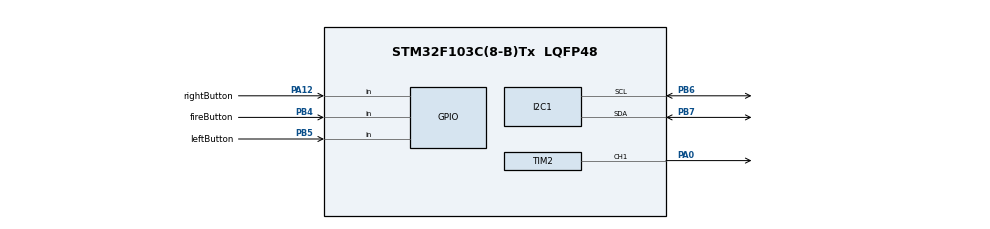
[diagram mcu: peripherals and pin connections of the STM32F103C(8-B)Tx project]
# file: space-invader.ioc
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I2C1.I2C_Mode=I2C_Fast
Mcu.Family=STM32F1
Mcu.Name=STM32F103C(8-B)Tx
Mcu.Package=LQFP48
NVIC.PriorityGroup=NVIC_PRIORITYGROUP_4
PA0-WKUP.Signal=S_TIM2_CH1_ETR
PA12.GPIO_Label=rightButton
PA12.GPIO_PuPd=GPIO_PULLUP
PA12.Signal=GPIO_Input
PA13.Mode=Serial_Wire
PA13.Signal=SYS_JTMS-SWDIO
PA14.Mode=Serial_Wire
PA14.Signal=SYS_JTCK-SWCLK
PB4.GPIO_Label=fireButton
PB4.GPIO_PuPd=GPIO_PULLUP
PB4.Signal=GPIO_Input
PB5.GPIO_Label=leftButton
PB5.GPIO_PuPd=GPIO_PULLUP
PB5.Signal=GPIO_Input
PB6.Mode=I2C
PB6.Signal=I2C1_SCL
PB7.Mode=I2C
PB7.Signal=I2C1_SDA
PD0-OSC_IN.Mode=HSE-External-Oscillator
PD0-OSC_IN.Signal=RCC_OSC_IN
PD1-OSC_OUT.Mode=HSE-External-Oscillator
PD1-OSC_OUT.Signal=RCC_OSC_OUT
ProjectManager.HeapSize=0x200
ProjectManager.StackSize=0x400
ProjectManager.TargetToolchain=STM32CubeIDE
RCC.APB1Freq_Value=8000000
RCC.APB2Freq_Value=8000000
SH.S_TIM2_CH1_ETR.0=TIM2_CH1,PWM Generation1 CH1
TIM2.AutoReloadPreload=TIM_AUTORELOAD_PRELOAD_DISABLE
TIM2.Channel-PWM\ Generation1\ CH1=TIM_CHANNEL_1
TIM2.OC1Preload_PWM=DISABLE
TIM2.Period=999
TIM2.Prescaler=79
TIM2.Pulse-PWM\ Generation1\ CH1=500
VP_TIM2_VS_ClockSourceINT.Mode=Internal
board=custom

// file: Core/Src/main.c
/* USER CODE BEGIN Header */
/**
  ******************************************************************************
  * @file           : main.c
  * @brief          : Main program body
  ******************************************************************************
  * @attention
  *
  * Copyright (c) 2025 STMicroelectronics.
  * All rights reserved.
  *
  * This software is licensed under terms that can be found in the LICENSE file
  * in the root directory of this software component.
  * If no LICENSE file comes with this software, it is provided AS-IS.
  *
  ******************************************************************************
  */
/* USER CODE END Header */
#include "main.h"

/* USER CODE BEGIN Includes */
#include <stdlib.h>
#include <stdio.h>
#include <string.h>
#include "ssd1306.h"
#include "ssd1306_fonts.h"
/* USER CODE END Includes */

/* USER CODE BEGIN PTD */
typedef struct {
    int16_t X;
    int16_t Y;
    uint8_t Status;  // 0 active, 1 exploding, 2 destroyed
} GameObjectStruct;

typedef struct {
    GameObjectStruct Ord;
    uint8_t ExplosionGfxCounter;
} AlienStruct;

typedef struct {
    GameObjectStruct Ord;
    uint16_t Score;
    uint8_t Lives;
    uint8_t Level;
    uint8_t AliensDestroyed;    // count of how many killed so far
    uint8_t AlienSpeed;         // higher the number slower they go, calculated when ever alien destroyed
    uint8_t ExplosionGfxCounter; // how long we want the ExplosionGfx to last
} PlayerStruct;
/* USER CODE END PTD */

/* USER CODE BEGIN PD */
#define SCREEN_WIDTH SSD1306_WIDTH
#define SCREEN_HEIGHT SSD1306_HEIGHT
// Input settings - adjust these to your STM32 GPIO pins
#define FIRE_BUT_PIN fireButton_Pin
#define FIRE_BUT_PORT fireButton_GPIO_Port
#define RIGHT_BUT_PIN rightButton_Pin
#define RIGHT_BUT_PORT rightButton_GPIO_Port
#define LEFT_BUT_PIN leftButton_Pin
#define LEFT_BUT_PORT leftButton_GPIO_Port

#define BUZZER_PIN GPIO_PIN_0
#define BUZZER_PORT GPIOA
#define BUZZER_TIMER &htim2  // Use a timer for PWM control
// Alien settings
#define ALIEN_HEIGHT 8
#define NUM_ALIEN_COLUMNS 7
#define NUM_ALIEN_ROWS 3
#define X_START_OFFSET 6
#define SPACE_BETWEEN_ALIEN_COLUMNS 5
#define LARGEST_ALIEN_WIDTH 11
#define SPACE_BETWEEN_ROWS 9
#define INVADERS_DROP_BY 4
#define INVADERS_SPEED 12
#define INVADER_HEIGHT 8
#define EXPLOSION_GFX_TIME 7

//Mothership settings
#define MOTHERSHIP_HEIGHT 4
#define MOTHERSHIP_WIDTH 16
#define MOTHERSHIP_SPEED 2
#define MOTHERSHIP_SPAWN_CHANCE 250         //HIGHER IS LESS CHANCE OF SPAWN
#define DISPLAY_MOTHERSHIP_BONUS_TIME 20    // how long bonus stays on screen for displaying mothership

#define INVADERS_Y_START MOTHERSHIP_HEIGHT-1
#define AMOUNT_TO_DROP_BY_PER_LEVEL 4 // How much farther down aliens start per new level
#define LEVEL_TO_RESET_TO_START_HEIGHT 4  // EVERY MULTIPLE OF THIS LEVEL THE ALIEN y START POSITION WILL RESET TO TOP

#define ALIEN_X_MOVE_AMOUNT 1         // number of pixels moved at start of wave
#define CHANCEOFBOMBDROPPING 20       // Higher the number the rarer the bomb drop,
#define BOMB_HEIGHT 4
#define BOMB_WIDTH 2
#define MAXBOMBS 3

// Player settings
#define TANKGFX_WIDTH 13
#define TANKGFX_HEIGHT 8
#define PLAYER_X_MOVE_AMOUNT 2
#define LIVES 3
#define PLAYER_EXPLOSION_TIME 10      // How long an ExplosionGfx remains on screen before dissapearing
#define PLAYER_Y_START 56
#define PLAYER_X_START 0

// Missile settings
#define MISSILE_HEIGHT 4
#define MISSILE_WIDTH 1
#define MISSILE_SPEED 4

// Status constants
#define ACTIVE 0
#define EXPLODING 1
#define DESTROYED 2

/* USER CODE END PD */

I2C_HandleTypeDef hi2c1;

TIM_HandleTypeDef htim2;

/* USER CODE BEGIN PV */
// Game objects
AlienStruct Alien[NUM_ALIEN_COLUMNS][NUM_ALIEN_ROWS];
AlienStruct MotherShip;
GameObjectStruct AlienBomb[MAXBOMBS];

static const int TOTAL_ALIENS = NUM_ALIEN_COLUMNS * NUM_ALIEN_ROWS;

// Alien properties
uint8_t AlienWidth[] = {8, 11, 12};  // top, middle, bottom widths
int8_t AlienXMoveAmount = 2;
int8_t InvadersMoveCounter;            // counts down, when 0 move invaders, set according to how many aliens on screen
uint8_t AnimationFrame = 0;   // two frames of animation, if true show one if false show the other

// Mothership
int8_t MotherShipSpeed;
uint16_t MotherShipBonus;
int16_t MotherShipBonusXPos;            // pos to display bonus at
uint8_t MotherShipBonusCounter;         // how long bonus amount left on screen

// Player global variables
PlayerStruct Player;
GameObjectStruct Missile;
// game variables
uint16_t HiScore = 0;
uint8_t GameInPlay = 0;

// Global/static UFO variables
static int ufoX = -20;
static uint32_t lastUfoMove = 0;
static uint32_t lastUfoStart = 0;
static uint8_t ufoActive = 0;

// Graphics
const uint8_t InvaderTopGfx[] = {
  0x18, 0x3C, 0x7E, 0xDB, 0xFF, 0x24, 0x5A, 0xA5
};

const uint8_t InvaderTopGfx2[] = {
  0x18, 0x3C, 0x7E, 0xDB, 0xFF, 0x5A, 0x81, 0x42
};

const uint8_t InvaderMiddleGfx[] = {
  0x20, 0x80, 0x11, 0x00, 0x3F, 0x80, 0x6E, 0xC0,
  0xFF, 0xE0, 0xBF, 0xA0, 0xA0, 0xA0, 0x1B, 0x00
};

const uint8_t InvaderMiddleGfx2[] = {
  0x20, 0x80, 0x10, 0x10, 0xBF, 0xA0, 0xAE, 0xA0,
  0xFF, 0xE0, 0x3F, 0x80, 0x20, 0x80, 0x40, 0x40
};

const uint8_t InvaderBottomGfx[] = {
  0x0F, 0x00, 0x7F, 0xE0, 0xFF, 0xF0, 0xE6, 0x70,
  0xFF, 0xF0, 0x39, 0xC0, 0x66, 0x60, 0x30, 0xC0
};

const uint8_t InvaderBottomGfx2[] = {
  0x0F, 0x00, 0x7F, 0xE0, 0xFF, 0xF0, 0xE6, 0x70,
  0xFF, 0xF0, 0x39, 0xC0, 0x46, 0x20, 0x80, 0x10
};

const uint8_t MotherShipGfx [] = {
  0x3F, 0xFC,
  0x6D, 0xB6,
  0xFF, 0xFF,
  0x39, 0x9C
};

// Player graphics
const uint8_t TankGfx[] ={
	0x02, 0x00, 0x27, 0x20, 0x2f, 0xa0, 0x3f, 0xe0,
	0x7f, 0xf0, 0xff, 0xf8, 0x6d, 0xb0, 0x25, 0x20
};

const uint8_t ExplosionGfx[] = {
  0x08, 0x80, 0x45, 0x10, 0x20, 0x20, 0x10, 0x40,
  0xC0, 0x18, 0x10, 0x40, 0x25, 0x20, 0x48, 0x90
};
// Missile graphics
const uint8_t MissileGfx[] = {
  0x80, 0x80, 0x80, 0x80
};

static const uint8_t AlienBombGfx [] = {
  0x80,
  0x40,
  0x80,
  0x40
};

// Alien sprites (2 frames 8x8)
const uint8_t alien1[8] = {
    0x18, 0x3C, 0x7E, 0xDB, 0xFF, 0x24, 0x42, 0x81
};

const uint8_t alien2[8] = {
    0x18, 0x3C, 0x7E, 0xBD, 0xFF, 0x24, 0x5A, 0xA5
};

// UFO sprite (16x8)
const uint8_t ufoSprite[8][2] = {
    {0x0E, 0x00}, {0x1F, 0x00}, {0x3F, 0x80}, {0x7F, 0xC0},
    {0xFF, 0xE0}, {0x3F, 0x80}, {0x1F, 0x00}, {0x0E, 0x00}
};
/* USER CODE END PV */

void SystemClock_Config(void);
static void MX_GPIO_Init(void);
static void MX_I2C1_Init(void);
static void MX_TIM2_Init(void);
/* USER CODE BEGIN PFP */
void InitAliens(int YStart);
void InitPlayer(void);
void AttractScreen(void);
void Physics(void);
uint8_t GetScoreForAlien(int RowNumber);
void MotherShipPhysics(void);
void PlayerControl(void);
void MissileControl(void);
void AlienControl(void);
void MoveBombs(void);
void DropBomb(void);
void BombCollisions(void);
void PlayerHit(void);
void CheckCollisions(void);
void MotherShipCollisions(void);
void MissileAndAlienCollisions(void);
uint8_t Collision(GameObjectStruct Obj1, uint8_t Width1, uint8_t Height1,
                 GameObjectStruct Obj2, uint8_t Width2, uint8_t Height2);
int16_t RightMostPos(void);
int16_t LeftMostPos(void);
uint8_t ReadButton(GPIO_TypeDef* port, uint16_t pin);
void UpdateDisplay(void);
void LoseLife(void);
void GameOver(void);
void DisplayPlayerAndLives(PlayerStruct *Player);
void CentreText(const char *Text, uint8_t Y);
void NextLevel(PlayerStruct *Player);
void NewGame(void);
uint8_t DebouncedReadButton(GPIO_TypeDef* port, uint16_t pin) {
    if(ReadButton(port, pin) == GPIO_PIN_RESET) {
        HAL_Delay(20);  // Chờ 20ms để chống nhiễu
        if(ReadButton(port, pin) == GPIO_PIN_RESET) {
            return 1;
        }
    }
    return 0;
}
uint8_t ReadButton(GPIO_TypeDef* port, uint16_t pin);
// Random number generation
int my_random(int max) {
    return rand() % max;
}

void randomSeed(uint32_t seed) {
    srand(seed);
}

void DrawAlien(uint8_t x, uint8_t y, const uint8_t* sprite) {
    for (uint8_t row = 0; row < 8; row++) {
        uint8_t rowBits = sprite[row];
        for (uint8_t col = 0; col < 8; col++) {
            if (rowBits & (1 << (7 - col))) {
                ssd1306_DrawPixel(x + col, y + row, White);
            }
        }
    }
}

void DrawUFO(uint8_t x, uint8_t y) {
    for (uint8_t row = 0; row < 8; row++) {
        uint16_t rowBits = (ufoSprite[row][0] << 8) | ufoSprite[row][1];
        for (uint8_t col = 0; col < 16; col++) {
            if (rowBits & (1 << (15 - col))) {
                ssd1306_DrawPixel(x + col, y + row, White);
            }
        }
    }
}
// Sound effect functions
void PlayTone(uint32_t frequency, uint32_t duration);
void PlayShootSound(void);
void PlayExplosionSound(void);
void PlayInvaderMoveSound(void);
void PlayMothershipSound(void);
void PlayGameOverSound(void);
void PlayLevelUpSound(void);
/* USER CODE END PFP */

int main(void)
{

  /* MCU Configuration--------------------------------------------------------*/

  /* Reset of all peripherals, Initializes the Flash interface and the Systick. */
  HAL_Init();

  /* Configure the system clock */
  SystemClock_Config();

  /* Initialize all configured peripherals */
  MX_GPIO_Init();
  MX_I2C1_Init();
  MX_TIM2_Init();
  /* USER CODE BEGIN 2 */
  ssd1306_Init();
  ssd1306_Fill(Black);

  InitAliens(0);
  InitPlayer();

  // Initialize buttons - should be configured in CubeMX
  // GPIO_InitTypeDef GPIO_InitStruct = {0};
  // Configure your button GPIOs here

  // Initialize random number generator
  randomSeed(HAL_GetTick());

  // Load high score from flash (simplified)
  HiScore = 0; // In a real implementation, you'd read from flash
  /* USER CODE END 2 */

  /* Infinite loop */
  /* USER CODE BEGIN WHILE */
  while (1)
  {
	    if(GameInPlay) {
	        Physics();
	        UpdateDisplay();
	    } else {
	        AttractScreen();
	    }
    /* USER CODE END WHILE */

  }
}

void SystemClock_Config(void)
{
  RCC_OscInitTypeDef RCC_OscInitStruct = {0};
  RCC_ClkInitTypeDef RCC_ClkInitStruct = {0};

  /** Initializes the RCC Oscillators according to the specified parameters
  * in the RCC_OscInitTypeDef structure.
  */
  RCC_OscInitStruct.OscillatorType = RCC_OSCILLATORTYPE_HSI;
  RCC_OscInitStruct.HSIState = RCC_HSI_ON;
  RCC_OscInitStruct.HSICalibrationValue = RCC_HSICALIBRATION_DEFAULT;
  RCC_OscInitStruct.PLL.PLLState = RCC_PLL_NONE;
  if (HAL_RCC_OscConfig(&RCC_OscInitStruct) != HAL_OK)
  {
    Error_Handler();
  }

  /** Initializes the CPU, AHB and APB buses clocks
  */
  RCC_ClkInitStruct.ClockType = RCC_CLOCKTYPE_HCLK|RCC_CLOCKTYPE_SYSCLK
                              |RCC_CLOCKTYPE_PCLK1|RCC_CLOCKTYPE_PCLK2;
  RCC_ClkInitStruct.SYSCLKSource = RCC_SYSCLKSOURCE_HSI;
  RCC_ClkInitStruct.AHBCLKDivider = RCC_SYSCLK_DIV1;
  RCC_ClkInitStruct.APB1CLKDivider = RCC_HCLK_DIV1;
  RCC_ClkInitStruct.APB2CLKDivider = RCC_HCLK_DIV1;

  if (HAL_RCC_ClockConfig(&RCC_ClkInitStruct, FLASH_LATENCY_0) != HAL_OK)
  {
    Error_Handler();
  }
}

static void MX_I2C1_Init(void)
{

  hi2c1.Instance = I2C1;
  hi2c1.Init.ClockSpeed = 400000;
  hi2c1.Init.DutyCycle = I2C_DUTYCYCLE_2;
  hi2c1.Init.OwnAddress1 = 0;
  hi2c1.Init.AddressingMode = I2C_ADDRESSINGMODE_7BIT;
  hi2c1.Init.DualAddressMode = I2C_DUALADDRESS_DISABLE;
  hi2c1.Init.OwnAddress2 = 0;
  hi2c1.Init.GeneralCallMode = I2C_GENERALCALL_DISABLE;
  hi2c1.Init.NoStretchMode = I2C_NOSTRETCH_DISABLE;
  if (HAL_I2C_Init(&hi2c1) != HAL_OK)
  {
    Error_Handler();
  }

}

static void MX_TIM2_Init(void)
{

  TIM_ClockConfigTypeDef sClockSourceConfig = {0};
  TIM_MasterConfigTypeDef sMasterConfig = {0};
  TIM_OC_InitTypeDef sConfigOC = {0};

  htim2.Instance = TIM2;
  htim2.Init.Prescaler = 79;
  htim2.Init.CounterMode = TIM_COUNTERMODE_UP;
  htim2.Init.Period = 999;
  htim2.Init.ClockDivision = TIM_CLOCKDIVISION_DIV1;
  htim2.Init.AutoReloadPreload = TIM_AUTORELOAD_PRELOAD_DISABLE;
  if (HAL_TIM_Base_Init(&htim2) != HAL_OK)
  {
    Error_Handler();
  }
  sClockSourceConfig.ClockSource = TIM_CLOCKSOURCE_INTERNAL;
  if (HAL_TIM_ConfigClockSource(&htim2, &sClockSourceConfig) != HAL_OK)
  {
    Error_Handler();
  }
  if (HAL_TIM_PWM_Init(&htim2) != HAL_OK)
  {
    Error_Handler();
  }
  sMasterConfig.MasterOutputTrigger = TIM_TRGO_RESET;
  sMasterConfig.MasterSlaveMode = TIM_MASTERSLAVEMODE_DISABLE;
  if (HAL_TIMEx_MasterConfigSynchronization(&htim2, &sMasterConfig) != HAL_OK)
  {
    Error_Handler();
  }
  sConfigOC.OCMode = TIM_OCMODE_PWM1;
  sConfigOC.Pulse = 500;
  sConfigOC.OCPolarity = TIM_OCPOLARITY_HIGH;
  sConfigOC.OCFastMode = TIM_OCFAST_DISABLE;
  if (HAL_TIM_PWM_ConfigChannel(&htim2, &sConfigOC, TIM_CHANNEL_1) != HAL_OK)
  {
    Error_Handler();
  }
  __HAL_TIM_DISABLE_OCxPRELOAD(&htim2, TIM_CHANNEL_1);
  HAL_TIM_MspPostInit(&htim2);

}

static void MX_GPIO_Init(void)
{
  GPIO_InitTypeDef GPIO_InitStruct = {0};

  /* GPIO Ports Clock Enable */
  __HAL_RCC_GPIOD_CLK_ENABLE();
  __HAL_RCC_GPIOA_CLK_ENABLE();
  __HAL_RCC_GPIOB_CLK_ENABLE();

  /*Configure GPIO pin : rightButton_Pin */
  GPIO_InitStruct.Pin = rightButton_Pin;
  GPIO_InitStruct.Mode = GPIO_MODE_INPUT;
  GPIO_InitStruct.Pull = GPIO_PULLUP;
  HAL_GPIO_Init(rightButton_GPIO_Port, &GPIO_InitStruct);

  /*Configure GPIO pins : fireButton_Pin leftButton_Pin */
  GPIO_InitStruct.Pin = fireButton_Pin|leftButton_Pin;
  GPIO_InitStruct.Mode = GPIO_MODE_INPUT;
  GPIO_InitStruct.Pull = GPIO_PULLUP;
  HAL_GPIO_Init(GPIOB, &GPIO_InitStruct);

}

/* USER CODE BEGIN 4 */
void Game_Init(void) {
    // Initialize OLED display
    ssd1306_Init();
    ssd1306_Fill(Black);

    InitAliens(0);
    InitPlayer();

    // Initialize buttons - should be configured in CubeMX
    // GPIO_InitTypeDef GPIO_InitStruct = {0};
    // Configure your button GPIOs here

    // Initialize random number generator
    randomSeed(HAL_GetTick());

    // Load high score from flash (simplified)
    HiScore = 0; // In a real implementation, you'd read from flash
}

void AttractScreen(void) {
    ssd1306_Fill(Black);

    CentreText("Space Invaders", 0);
    CentreText("Play", 12);

    // Blinking "Press A to start"
    static uint32_t lastBlink = 0;
    static uint8_t blinkState = 0;
    if (HAL_GetTick() - lastBlink > 500) {
        blinkState = !blinkState;
        lastBlink = HAL_GetTick();
    }

    if (blinkState) {
        CentreText("Press A to start", 24);
    }

    // Hi Score
    CentreText("Hi Score     ", 36);
    char scoreStr[10];
    sprintf(scoreStr, "%d", HiScore);
    ssd1306_SetCursor(80, 36);
    ssd1306_WriteString(scoreStr, Font_7x10, White);

    CentreText("< Move >     A: Fire", 46);

    // Alien animation
    const uint8_t* alienSprite = blinkState ? alien1 : alien2;
    DrawAlien(32, 56, alienSprite);
    const uint8_t* alienSprite2 = blinkState ? InvaderTopGfx : InvaderTopGfx2;
    DrawAlien(48, 56, alienSprite2);
    DrawAlien(64, 56, alienSprite);
    DrawAlien(80, 56, alienSprite2);

    // UFO animation
    uint32_t now = HAL_GetTick();
    if (!ufoActive && now - lastUfoStart > 5000) {
        ufoActive = 1;
        ufoX = -20;
        lastUfoMove = now;
        lastUfoStart = now;

        // Optional: UFO sound
        // PlayTone(1000, 200);
    }

    if (ufoActive && now - lastUfoMove > 50) {
        ufoX++;
        lastUfoMove = now;

        if (ufoX > 128) {
            ufoActive = 0;
        }
    }

    if (ufoActive) {
        DrawUFO(ufoX, 0);  // Bay ở hàng trên cùng
    }
    ssd1306_UpdateScreen();

    if(ReadButton(fireButton_GPIO_Port, fireButton_Pin) == GPIO_PIN_RESET) {
        GameInPlay = 1;
        NewGame();
    }

//    // CHECK FOR HIGH SCORE RESET, PLAYER MUST HOLD LEFT AND RIGHT TOGETHER
//    if((digitalRead(LEFT_BUT_PORT, LEFT_BUT_PIN) == 1) && (digitalRead(RIGHT_BUT_PORT, RIGHT_BUT_PIN) == 1)) {
//        HiScore = 0;
//        // In a real implementation, you'd write to flash here
//    }
}

void Game_Loop(void) {
    if(GameInPlay) {
        Physics();
        UpdateDisplay();
    } else {
        AttractScreen();
    }
}

void Physics(void) {
    if(Player.Ord.Status == ACTIVE) {
        AlienControl();
        MotherShipPhysics();
        PlayerControl();
        MissileControl();
        CheckCollisions();
    }
}

uint8_t GetScoreForAlien(int RowNumber) {
    switch (RowNumber) {
        case 0: return 30;
        case 1: return 20;
        case 2: return 10;
        default: return 0;
    }
}

void MotherShipPhysics(void) {
    if(MotherShip.Ord.Status == ACTIVE) {
        MotherShip.Ord.X += MotherShipSpeed;
        if(MotherShipSpeed > 0) {
            if(MotherShip.Ord.X >= SCREEN_WIDTH) {
                MotherShip.Ord.Status = DESTROYED;
            }
        } else {
            if(MotherShip.Ord.X + MOTHERSHIP_WIDTH < 0) {
                MotherShip.Ord.Status = DESTROYED;
            }
        }
    } else {
        if(my_random(MOTHERSHIP_SPAWN_CHANCE) == 1) {
            MotherShip.Ord.Status = ACTIVE;
            if(my_random(2) == 1) {
                MotherShip.Ord.X = SCREEN_WIDTH;
                MotherShipSpeed = -MOTHERSHIP_SPEED;
            } else {
                MotherShip.Ord.X = -MOTHERSHIP_WIDTH;
                MotherShipSpeed = MOTHERSHIP_SPEED;
            }
        }
    }
}

void PlayerControl(void) {
    uint8_t firePressed = DebouncedReadButton(FIRE_BUT_PORT, FIRE_BUT_PIN);

    if((ReadButton(RIGHT_BUT_PORT, RIGHT_BUT_PIN) == 1) && (Player.Ord.X + TANKGFX_WIDTH < SCREEN_WIDTH)) {
        Player.Ord.X += PLAYER_X_MOVE_AMOUNT;
    }
    if((ReadButton(LEFT_BUT_PORT, LEFT_BUT_PIN) == 1) && (Player.Ord.X > 0)) {
        Player.Ord.X -= PLAYER_X_MOVE_AMOUNT;
    }
    if(firePressed && (Missile.Status != ACTIVE)) {
        Missile.X = Player.Ord.X + (TANKGFX_WIDTH / 2);
        Missile.Y = PLAYER_Y_START;
        Missile.Status = ACTIVE;
        PlayShootSound();
    }
}

void MissileControl(void) {
    if(Missile.Status == ACTIVE) {
        Missile.Y -= MISSILE_SPEED;
        if(Missile.Y + MISSILE_HEIGHT < 0) {
            Missile.Status = DESTROYED;
        }
    }
}

void AlienControl(void) {
    if((InvadersMoveCounter--) < 0) {
    	PlayInvaderMoveSound();
        uint8_t Dropped = 0;
        if((RightMostPos() + AlienXMoveAmount >= SCREEN_WIDTH) || (LeftMostPos() + AlienXMoveAmount < 0)) {
            AlienXMoveAmount = -AlienXMoveAmount;
            Dropped = 1;
        }

        for(int Across = 0; Across < NUM_ALIEN_COLUMNS; Across++) {
            for(int Down = 0; Down < 3; Down++) {
                if(Alien[Across][Down].Ord.Status == ACTIVE) {
                    if(Dropped == 0) {
                        Alien[Across][Down].Ord.X += AlienXMoveAmount;
                    } else {
                        Alien[Across][Down].Ord.Y += INVADERS_DROP_BY;
                    }
                }
            }
        }

        InvadersMoveCounter = Player.AlienSpeed;
        AnimationFrame = !AnimationFrame;
    }

    if(my_random(CHANCEOFBOMBDROPPING) == 1) {
        DropBomb();
    }
    MoveBombs();
}

void MoveBombs(void) {
    for(int i = 0; i < MAXBOMBS; i++) {
        if(AlienBomb[i].Status == ACTIVE) {
            AlienBomb[i].Y += 2;
        }
    }
}

void DropBomb(void) {
    uint8_t Free = 0;
    uint8_t ActiveCols[NUM_ALIEN_COLUMNS];
    uint8_t BombIdx = 0;

    while((Free == 0) && (BombIdx < MAXBOMBS)) {
        if(AlienBomb[BombIdx].Status == DESTROYED) {
            Free = 1;
        } else {
            BombIdx++;
        }
    }

    if(Free) {
        uint8_t Columns = 0;
        uint8_t ActiveColCount = 0;
        int8_t Row;
        uint8_t ChosenColumn;

        while(Columns < NUM_ALIEN_COLUMNS) {
            Row = 2;
            while(Row >= 0) {
                if(Alien[Columns][Row].Ord.Status == ACTIVE) {
                    ActiveCols[ActiveColCount] = Columns;
                    ActiveColCount++;
                    break;
                }
                Row--;
            }
            Columns++;
        }

        if(ActiveColCount > 0) {
            ChosenColumn = my_random(ActiveColCount);
            Row = 2;
            while(Row >= 0) {
                if(Alien[ActiveCols[ChosenColumn]][Row].Ord.Status == ACTIVE) {
                    AlienBomb[BombIdx].Status = ACTIVE;
                    AlienBomb[BombIdx].X = Alien[ActiveCols[ChosenColumn]][Row].Ord.X + (AlienWidth[Row] / 2);
                    AlienBomb[BombIdx].X = (AlienBomb[BombIdx].X - 2) + my_random(4);
                    AlienBomb[BombIdx].Y = Alien[ActiveCols[ChosenColumn]][Row].Ord.Y + 4;
                    break;
                }
                Row--;
            }
        }
    }
}

void BombCollisions(void) {
    for(int i = 0; i < MAXBOMBS; i++) {
        if(AlienBomb[i].Status == ACTIVE) {
            if(AlienBomb[i].Y > 64) {
                AlienBomb[i].Status = DESTROYED;
            } else {
                if(Collision(AlienBomb[i], BOMB_WIDTH, BOMB_HEIGHT, Missile, MISSILE_WIDTH, MISSILE_HEIGHT)) {
                    AlienBomb[i].Status = EXPLODING;
                    Missile.Status = DESTROYED;
                } else {
                    if(Collision(AlienBomb[i], BOMB_WIDTH, BOMB_HEIGHT, Player.Ord, TANKGFX_WIDTH, TANKGFX_HEIGHT)) {
                        PlayerHit();
                        AlienBomb[i].Status = DESTROYED;
                    }
                }
            }
        }
    }
}

void PlayerHit(void) {
    Player.Ord.Status = EXPLODING;
    Player.ExplosionGfxCounter = PLAYER_EXPLOSION_TIME;
    Missile.Status = DESTROYED;
    PlayExplosionSound();
}

void CheckCollisions(void) {
    MissileAndAlienCollisions();
    MotherShipCollisions();
    BombCollisions();
}

void MotherShipCollisions(void) {
    if((Missile.Status == ACTIVE) && (MotherShip.Ord.Status == ACTIVE)) {
        if(Collision(Missile, MISSILE_WIDTH, MISSILE_HEIGHT, MotherShip.Ord, MOTHERSHIP_WIDTH, MOTHERSHIP_HEIGHT)) {
            MotherShip.Ord.Status = EXPLODING;
            MotherShip.ExplosionGfxCounter = EXPLOSION_GFX_TIME;
            Missile.Status = DESTROYED;

            MotherShipBonus = my_random(4);
            switch(MotherShipBonus) {
                case 0: MotherShipBonus = 50; break;
                case 1: MotherShipBonus = 100; break;
                case 2: MotherShipBonus = 150; break;
                case 3: MotherShipBonus = 300; break;
            }

            Player.Score += MotherShipBonus;
            MotherShipBonusXPos = MotherShip.Ord.X;

            if(MotherShipBonusXPos > 100) {
                MotherShipBonusXPos = 100;
            }
            if(MotherShipBonusXPos < 0) {
                MotherShipBonusXPos = 0;
            }

            MotherShipBonusCounter = DISPLAY_MOTHERSHIP_BONUS_TIME;
        }
    }
}

void MissileAndAlienCollisions(void) {
    for(int across = 0; across < NUM_ALIEN_COLUMNS; across++) {
        for(int down = 0; down < NUM_ALIEN_ROWS; down++) {
            if(Alien[across][down].Ord.Status == ACTIVE) {
                if(Missile.Status == ACTIVE) {
                    if(Collision(Missile, MISSILE_WIDTH, MISSILE_HEIGHT, Alien[across][down].Ord, AlienWidth[down], INVADER_HEIGHT)) {
                        Alien[across][down].Ord.Status = EXPLODING;
                        Missile.Status = DESTROYED;
                        Player.Score += GetScoreForAlien(down);
                        Player.AliensDestroyed++;

                        Player.AlienSpeed = ((1 - (Player.AliensDestroyed / (float)TOTAL_ALIENS)) * INVADERS_SPEED);

                        if(Player.AliensDestroyed == TOTAL_ALIENS - 2) {
                            if(AlienXMoveAmount > 0) {
                                AlienXMoveAmount = ALIEN_X_MOVE_AMOUNT * 2;
                            } else {
                                AlienXMoveAmount = -(ALIEN_X_MOVE_AMOUNT * 2);
                            }
                        }

                        if(Player.AliensDestroyed == TOTAL_ALIENS - 1) {
                            if(AlienXMoveAmount > 0) {
                                AlienXMoveAmount = ALIEN_X_MOVE_AMOUNT * 4;
                            } else {
                                AlienXMoveAmount = -(ALIEN_X_MOVE_AMOUNT * 4);
                            }
                        }

                        if(Player.AliensDestroyed == TOTAL_ALIENS) {
                            NextLevel(&Player);
                        }
                    }
                }

                if(Alien[across][down].Ord.Status == ACTIVE) {
                    if(Collision(Player.Ord, TANKGFX_WIDTH, TANKGFX_HEIGHT, Alien[across][down].Ord, AlienWidth[down], ALIEN_HEIGHT)) {
                        PlayerHit();
                    } else {
                        if(Alien[across][down].Ord.Y + 8 > SCREEN_HEIGHT) {
                            PlayerHit();
                        }
                    }
                }
            }
        }
    }
}

uint8_t Collision(GameObjectStruct Obj1, uint8_t Width1, uint8_t Height1, GameObjectStruct Obj2, uint8_t Width2, uint8_t Height2) {
    return ((Obj1.X + Width1 > Obj2.X) && (Obj1.X < Obj2.X + Width2) &&
           (Obj1.Y + Height1 > Obj2.Y) && (Obj1.Y < Obj2.Y + Height2));
}

int16_t RightMostPos(void) {
    int16_t Across = NUM_ALIEN_COLUMNS - 1;
    int16_t Down;
    int16_t Largest = 0;
    int16_t RightPos;

    while(Across >= 0) {
        Down = 0;
        while(Down < NUM_ALIEN_ROWS) {
            if(Alien[Across][Down].Ord.Status == ACTIVE) {
                RightPos = Alien[Across][Down].Ord.X + AlienWidth[Down];
                if(RightPos > Largest) {
                    Largest = RightPos;
                }
            }
            Down++;
        }

        if(Largest > 0) {
            return Largest;
        }
        Across--;
    }
    return 0;
}

int16_t LeftMostPos(void) {
    int16_t Across = 0;
    int16_t Down;
    int16_t Smallest = SCREEN_WIDTH * 2;

    while(Across < NUM_ALIEN_COLUMNS) {
        Down = 0;
        while(Down < 3) {
            if(Alien[Across][Down].Ord.Status == ACTIVE) {
                if(Alien[Across][Down].Ord.X < Smallest) {
                    Smallest = Alien[Across][Down].Ord.X;
                }
            }
            Down++;
        }

        if(Smallest < SCREEN_WIDTH * 2) {
            return Smallest;
        }
        Across++;
    }
    return 0;
}

void UpdateDisplay(void) {
    ssd1306_Fill(Black);

    // Mothership bonus display if required
    if(MotherShipBonusCounter > 0) {
        char bonusStr[10];
        sprintf(bonusStr, "%d", MotherShipBonus);
        ssd1306_SetCursor(MotherShipBonusXPos, 0);
        ssd1306_WriteString(bonusStr, Font_7x10, 1);
        MotherShipBonusCounter--;
    } else {
        // draw score and lives
        char scoreStr[10];
        sprintf(scoreStr, "%d", Player.Score);
        ssd1306_SetCursor(0, 0);
        ssd1306_WriteString(scoreStr, Font_7x10, 1);

        char livesStr[5];
        sprintf(livesStr, "%d", Player.Lives);
        ssd1306_SetCursor(SCREEN_WIDTH - 7, 0);
        ssd1306_WriteString(livesStr, Font_7x10, 1);
    }

    // BOMBS
    for(int i = 0; i < MAXBOMBS; i++) {
        if(AlienBomb[i].Status == ACTIVE) {
            ssd1306_DrawBitmap(AlienBomb[i].X, AlienBomb[i].Y, AlienBombGfx, BOMB_WIDTH, BOMB_HEIGHT, White);
        } else if(AlienBomb[i].Status == EXPLODING) {
        	ssd1306_DrawBitmap(AlienBomb[i].X - 4, AlienBomb[i].Y, ExplosionGfx, 8, 8, 1);
            AlienBomb[i].Status = DESTROYED;
        }
    }

    // Invaders
    for(int across = 0; across < NUM_ALIEN_COLUMNS; across++) {
        for(int down = 0; down < NUM_ALIEN_ROWS; down++) {
            if(Alien[across][down].Ord.Status == ACTIVE) {
                switch(down) {
                    case 0:
                        if(AnimationFrame) {
                        	ssd1306_DrawBitmap(Alien[across][down].Ord.X, Alien[across][down].Ord.Y,
                                             InvaderTopGfx, AlienWidth[down], INVADER_HEIGHT, 1);
                        } else {
                        	ssd1306_DrawBitmap(Alien[across][down].Ord.X, Alien[across][down].Ord.Y,
                                             InvaderTopGfx2, AlienWidth[down], INVADER_HEIGHT, 1);
                        }
                        break;
                    case 1:
                        if(AnimationFrame) {
                        	ssd1306_DrawBitmap(Alien[across][down].Ord.X, Alien[across][down].Ord.Y,
                                             InvaderMiddleGfx, AlienWidth[down], INVADER_HEIGHT, 1);
                        } else {
                        	ssd1306_DrawBitmap(Alien[across][down].Ord.X, Alien[across][down].Ord.Y,
                                             InvaderMiddleGfx2, AlienWidth[down], INVADER_HEIGHT, 1);
                        }
                        break;
                    default:
                        if(AnimationFrame) {
                        	ssd1306_DrawBitmap(Alien[across][down].Ord.X, Alien[across][down].Ord.Y,
                                             InvaderBottomGfx, AlienWidth[down], INVADER_HEIGHT, 1);
                        } else {
                        	ssd1306_DrawBitmap(Alien[across][down].Ord.X, Alien[across][down].Ord.Y,
                                             InvaderBottomGfx2, AlienWidth[down], INVADER_HEIGHT, 1);
                        }
                }
            } else if(Alien[across][down].Ord.Status == EXPLODING) {
                Alien[across][down].ExplosionGfxCounter--;
                if(Alien[across][down].ExplosionGfxCounter > 0) {
                	ssd1306_DrawBitmap(Alien[across][down].Ord.X, Alien[across][down].Ord.Y,
                                     ExplosionGfx, 13, 8, 1);
                } else {
                    Alien[across][down].Ord.Status = DESTROYED;
                }
            }
        }
    }

    // player
    if(Player.Ord.Status == ACTIVE) {
    	ssd1306_DrawBitmap(Player.Ord.X, Player.Ord.Y, TankGfx, TANKGFX_WIDTH, TANKGFX_HEIGHT, 1);
    } else if(Player.Ord.Status == EXPLODING) {
        for(int i = 0; i < TANKGFX_WIDTH; i += 2) {
        	ssd1306_DrawBitmap(Player.Ord.X + i, Player.Ord.Y, ExplosionGfx, my_random(4) + 2, 8, 1);
        }
        Player.ExplosionGfxCounter--;
        if(Player.ExplosionGfxCounter == 0) {
            Player.Ord.Status = DESTROYED;
            LoseLife();
        }
    }

    // missile
    if(Missile.Status == ACTIVE) {
    	ssd1306_DrawBitmap(Missile.X, Missile.Y, MissileGfx, MISSILE_WIDTH, MISSILE_HEIGHT, 1);
    }

    // mothership
    if(MotherShip.Ord.Status == ACTIVE) {
    	ssd1306_DrawBitmap(MotherShip.Ord.X, MotherShip.Ord.Y, MotherShipGfx, MOTHERSHIP_WIDTH, MOTHERSHIP_HEIGHT, 1);
    } else if(MotherShip.Ord.Status == EXPLODING) {
        for(int i = 0; i < MOTHERSHIP_WIDTH; i += 2) {
        	ssd1306_DrawBitmap(MotherShip.Ord.X + i, MotherShip.Ord.Y, ExplosionGfx, my_random(4) + 2, MOTHERSHIP_HEIGHT, 1);
        }
        MotherShip.ExplosionGfxCounter--;
        if(MotherShip.ExplosionGfxCounter == 0) {
            MotherShip.Ord.Status = DESTROYED;
        }
    }

    ssd1306_UpdateScreen();
}

void LoseLife(void) {
    Player.Lives--;
    if(Player.Lives > 0) {
        DisplayPlayerAndLives(&Player);

        for(int i = 0; i < MAXBOMBS; i++) {
            AlienBomb[i].Status = DESTROYED;
            AlienBomb[i].Y = 0;
        }

        Player.Ord.Status = ACTIVE;
        Player.Ord.X = 0;
    } else {
        GameOver();
    }
}

void GameOver(void) {
    GameInPlay = 0;
    PlayGameOverSound();
    ssd1306_Fill(Black);

    CentreText("Player 1", 0);
    CentreText("Game Over", 12);
    CentreText("Score ", 24);

    char scoreStr[10];
    sprintf(scoreStr, "%d", Player.Score);
    ssd1306_WriteString(scoreStr, Font_7x10, White);

    if(Player.Score > HiScore) {
        CentreText("NEW HIGH SCORE!!!", 36);
        CentreText("**CONGRATULATIONS**", 48);
        HiScore = Player.Score;
        // In a real implementation, you'd write to flash here
    }

    ssd1306_UpdateScreen();
    HAL_Delay(2500);
}

void DisplayPlayerAndLives(PlayerStruct *Player) {
    ssd1306_Fill(Black);

    CentreText("Player 1", 0);
    CentreText("Score ", 12);

    char scoreStr[10];
    sprintf(scoreStr, "%d", Player->Score);
    ssd1306_WriteString(scoreStr, Font_7x10, White);

    CentreText("Lives ", 24);

    char livesStr[5];
    sprintf(livesStr, "%d", Player->Lives);
    ssd1306_WriteString(livesStr, Font_7x10, White);

    CentreText("Level ", 36);

    char levelStr[5];
    sprintf(levelStr, "%d", Player->Level);
    ssd1306_WriteString(levelStr, Font_7x10, White);

    ssd1306_UpdateScreen();
    HAL_Delay(2000);

    Player->Ord.X = PLAYER_X_START;
}

void CentreText(const char *Text, uint8_t Y) {
	uint8_t x = (SCREEN_WIDTH / 2) - ((strlen(Text) * 7) / 2);
    ssd1306_SetCursor(x, Y);
    ssd1306_WriteString((char*)Text, Font_7x10, White);
}

void NextLevel(PlayerStruct *Player) {
	PlayLevelUpSound();
    for(int i = 0; i < MAXBOMBS; i++) {
        AlienBomb[i].Status = DESTROYED;
    }

    AnimationFrame = 0;
    Player->Level++;

    int YStart = ((Player->Level - 1) % LEVEL_TO_RESET_TO_START_HEIGHT) * AMOUNT_TO_DROP_BY_PER_LEVEL;
    InitAliens(YStart);

    AlienXMoveAmount = ALIEN_X_MOVE_AMOUNT;
    Player->AlienSpeed = INVADERS_SPEED;
    Player->AliensDestroyed = 0;

    MotherShip.Ord.X = -MOTHERSHIP_WIDTH;
    MotherShip.Ord.Status = DESTROYED;
    Missile.Status = DESTROYED;

    randomSeed(HAL_GetTick());
    DisplayPlayerAndLives(Player);
}

void NewGame(void) {
    InitPlayer();
    NextLevel(&Player);
}

void InitPlayer(void) {
    Player.Ord.Y = PLAYER_Y_START;
    Player.Ord.X = PLAYER_X_START;
    Player.Ord.Status = ACTIVE;
    Player.Lives = LIVES;
    Player.Level = 0;
    Missile.Status = DESTROYED;
    Player.Score = 0;
}

void InitAliens(int YStart) {
    for(int across = 0; across < NUM_ALIEN_COLUMNS; across++) {
        for(int down = 0; down < 3; down++) {
            Alien[across][down].Ord.X = X_START_OFFSET + (across * (LARGEST_ALIEN_WIDTH + SPACE_BETWEEN_ALIEN_COLUMNS)) - (AlienWidth[down] / 2);
            Alien[across][down].Ord.Y = YStart + (down * SPACE_BETWEEN_ROWS);
            Alien[across][down].Ord.Status = ACTIVE;
            Alien[across][down].ExplosionGfxCounter = EXPLOSION_GFX_TIME;
        }
    }

    MotherShip.Ord.Y = 0;
    MotherShip.Ord.X = -MOTHERSHIP_WIDTH;
    MotherShip.Ord.Status = DESTROYED;
}

uint8_t ReadButton(GPIO_TypeDef* port, uint16_t pin) {
    return HAL_GPIO_ReadPin(port, pin);
}

/* USER CODE BEGIN 4 */
void PlayTone(uint32_t frequency, uint32_t duration) {
    if(frequency == 0) {
        HAL_TIM_PWM_Stop(BUZZER_TIMER, TIM_CHANNEL_1);
        return;
    }
    HAL_TIM_PWM_Start(BUZZER_TIMER, TIM_CHANNEL_1);
    HAL_Delay(duration);
    HAL_TIM_PWM_Stop(BUZZER_TIMER, TIM_CHANNEL_1);
}

void PlayShootSound(void) {
    PlayTone(800, 50);
}

void PlayExplosionSound(void) {
    PlayTone(200, 100);
    HAL_Delay(20);
    PlayTone(150, 100);
}

void PlayInvaderMoveSound(void) {
    static uint8_t alt = 0;
    if(alt) {
        PlayTone(440, 30);
    } else {
        PlayTone(523, 30);
    }
    alt = !alt;
}

void PlayGameOverSound(void) {
    PlayTone(300, 200);
    HAL_Delay(100);
    PlayTone(200, 300);
    HAL_Delay(100);
    PlayTone(100, 500);
}

void PlayLevelUpSound(void) {
    PlayTone(523, 100);
    HAL_Delay(50);
    PlayTone(659, 100);
    HAL_Delay(50);
    PlayTone(784, 200);
}
/* USER CODE END 4 */
/* USER CODE END 4 */

void Error_Handler(void)
{
  __disable_irq();
  while (1)
  {
  }
}
